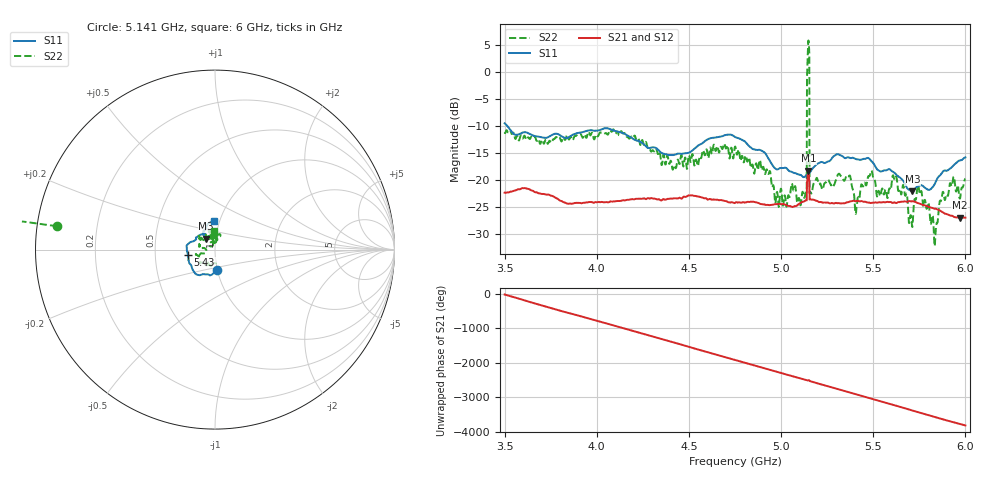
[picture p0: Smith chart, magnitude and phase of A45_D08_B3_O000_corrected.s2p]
! Created with skrf 1.9.0 (http://scikit-rf.org).
# Hz S RI R 50.0
!freq ReS11 ImS11 ReS21 ImS21 ReS12 ImS12 ReS22 ImS22
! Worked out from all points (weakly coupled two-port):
!   1601 points, 3.5 GHz to 6 GHz, reference 50 ohm
!   highest |S21| = -18.30 dB at 5.148 GHz (marker M1); lowest = -27.0 dB at 5.969 GHz (marker M2)
!   lowest |S11| = -22.1 dB at 5.713 GHz (marker M3), VSWR 1.17, Z = 45 + j5.52 ohm
!   |S11| at or under -10 dB: 3.514 GHz to end of sweep
!   |S22| runs from -32.3 to 5.8 dB; largest |S21 - S12| = 0.0012
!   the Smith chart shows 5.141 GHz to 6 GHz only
!   S11 on the Smith chart (normalised r, x): 5.141 GHz: 1.00, -0.23; 5.43 GHz: 0.74, -0.04; 6 GHz: 0.93, +0.31
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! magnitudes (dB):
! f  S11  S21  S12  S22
! 3.5 GHz  -9.5  -22.3  -22.3  -11.2
! 3.917 GHz  -11.2  -24.3  -24.3  -11.8
! 4.334 GHz  -14.5  -23.6  -23.5  -15.1
! 4.75 GHz  -12.0  -24.2  -24.2  -13.8
! 5.098 GHz  -19.0  -24.4  -24.4  -23.5
! 5.127 GHz  -19.5  -23.9  -23.9  -23.3
! 5.141 GHz  -19.0  -20.6  -20.6  -1.0
! 5.148 GHz  -18.8  -18.3  -18.3  5.8
! 5.153 GHz  -18.8  -20.3  -20.3  3.4
! 5.167 GHz  -18.0  -23.6  -23.6  -22.4
! 5.316 GHz  -15.3  -24.3  -24.3  -18.9
! 5.409 GHz  -16.2  -23.9  -23.8  -25.0
! 5.43 GHz  -16.3  -24.0  -23.9  -22.0
! 5.484 GHz  -16.3  -24.3  -24.2  -18.8
! 5.584 GHz  -18.0  -24.1  -24.1  -21.9
! 5.617 GHz  -18.7  -24.2  -24.2  -19.9
! 5.713 GHz  -22.1  -23.9  -23.9  -28.7
! 5.75 GHz  -21.1  -24.4  -24.3  -22.1
! 5.839 GHz  -20.4  -25.3  -25.3  -29.5
! 5.872 GHz  -18.7  -25.9  -25.8  -23.2
! 5.969 GHz  -16.4  -27.0  -27.0  -23.4
! 6 GHz  -15.8  -27.0  -26.9  -19.8
